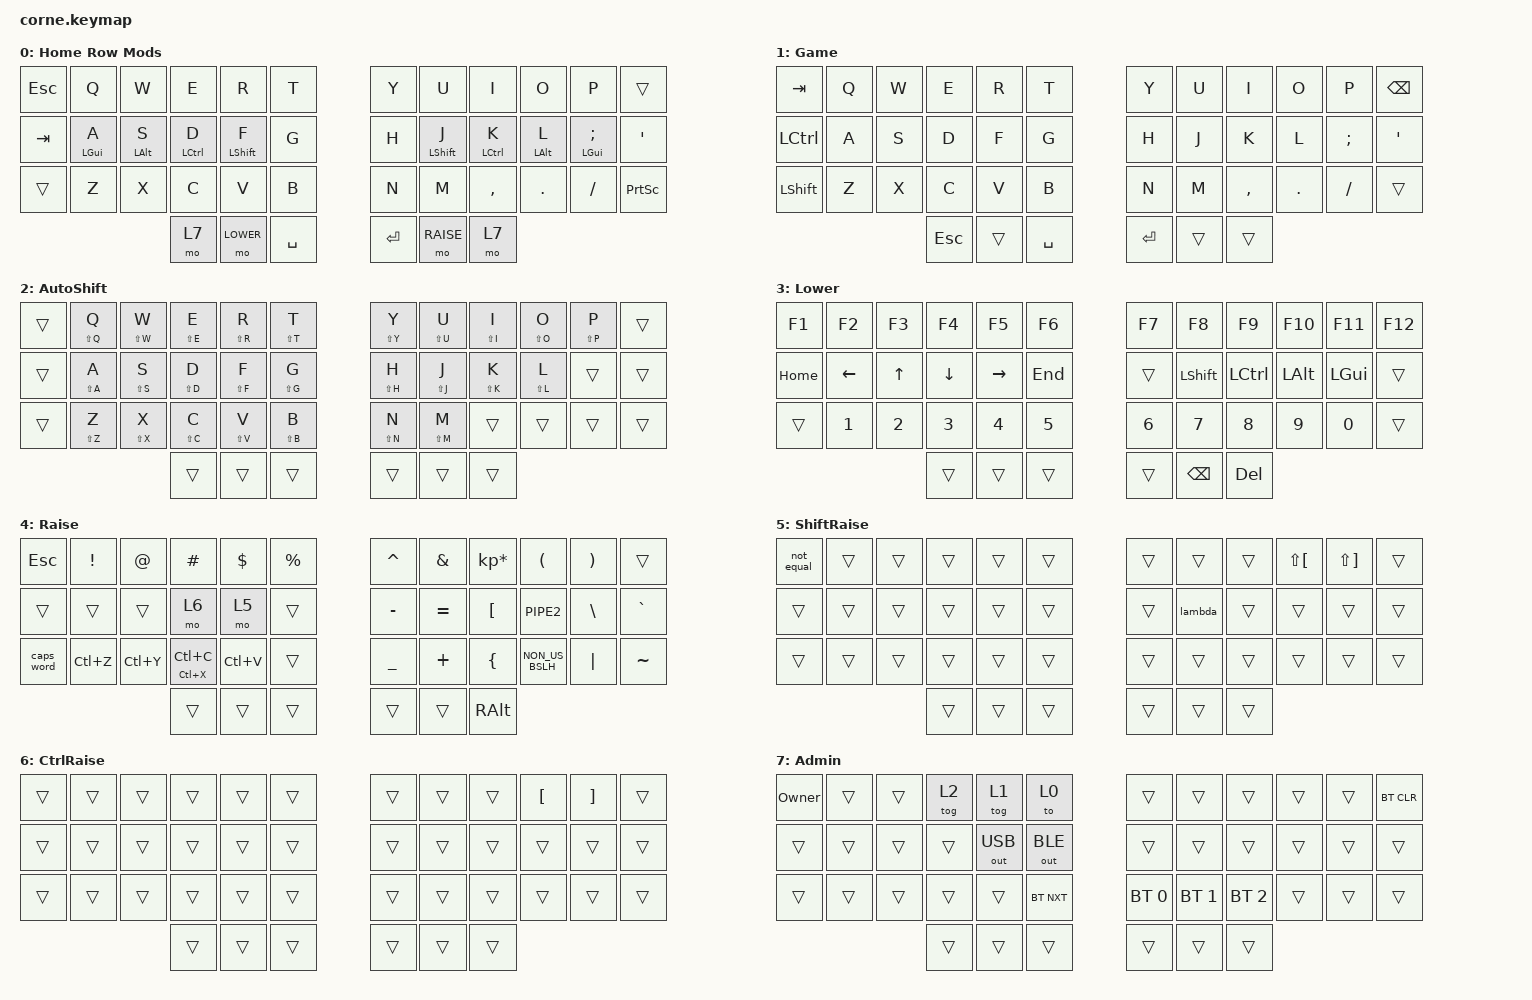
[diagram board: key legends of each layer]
/*
 * Copyright (c) 2020 The ZMK Contributors
 *
 * SPDX-License-Identifier: MIT
 */

#include <behaviors.dtsi>
#include <dt-bindings/zmk/bt.h>
#include <dt-bindings/zmk/keys.h>
#include <dt-bindings/zmk/outputs.h>

#define DEFAULT   0
#define GAME      1
#define AUTOSHIFT 2
#define LOWER     3
#define RAISE     4

//For RGB support per https://github.com/zmkfirmware/zmk/issues/885
//#include <../boards/shields/kyria/boards/nice_nano.overlay>

/ {
    behaviors {
        hm: homerow_mods {
            compatible = "zmk,behavior-hold-tap";
            label = "HOMEROW_MODS";
            #binding-cells = <2>;
            tapping-term-ms = <200>;
            quick-tap-ms = <0>;
            flavor = "tap-preferred";
            bindings = <&kp>, <&kp>;
        };

        as: autoshift {
            compatible = "zmk,behavior-hold-tap";
            label = "AUTOSHIFT";
            bindings = <&kp>, <&kp>;

            #binding-cells = <2>;
            tapping-term-ms = <250>;
            quick-tap-ms = <0>;
            flavor = "tap-preferred";
        };
    };

    macros {
        lambda: lambda {
            compatible = "zmk,behavior-macro";
            #binding-cells = <0>;
            bindings = <&kp EQUAL &kp GT>;
            label = "LAMBDA";
        };

        Owner: Owner {
            compatible = "zmk,behavior-macro";
            #binding-cells = <0>;
            bindings = <&kp LS(T) &kp H &kp I &kp S &kp SPACE &kp K &kp E &kp Y &kp B &kp O &kp A &kp R &kp D &kp SPACE &kp I &kp S &kp SPACE &kp O &kp W &kp N &kp E &kp D &kp SPACE &kp B &kp Y &kp SPACE &kp LS(A) &kp L &kp A &kp N &kp SPACE &kp LS(G) &kp A &kp R &kp D &kp N &kp E &kp R &kp DOT &kp SPACE &kp LS(G) &kp O &kp SPACE &kp N &kp I &kp C &kp K &kp SPACE &kp A &kp N &kp O &kp T &kp H &kp E &kp R>;
            label = "OWNER";
        };

        not_equal: not_equal {
            compatible = "zmk,behavior-macro";
            #binding-cells = <0>;
            bindings = <&kp EXCL &kp EQUAL>;
            label = "NOT_EQUAL";
        };
    };

    keymap {
        compatible = "zmk,keymap";

        default_layer {
            // -----------------------------------------------------------------------------------------
            // |  TAB |  Q  |  W  |  E  |  R  |  T  |   |  Y  |  U   |  I  |  O  |  P  | BKSP |
            // |  WIN |  A  |  S  |  D  |  F  |  G  |   |  H  |  J   |  K  |  L  | ; : | ' @  |
            // | SHFT |  Z  |  X  |  C  |  V  |  B  |   |  N  |  M   | , < | . > | / ? | ESC  |
            //                    | CTRL| LWR | SPC |   | ENT | RSE  | ALT |

            bindings = <
&kp ESCAPE  &kp Q       &kp W       &kp E        &kp R        &kp T        &kp Y    &kp U        &kp I        &kp O       &kp P          &trans
&kp TAB     &hm LGUI A  &hm LALT S  &hm LCTRL D  &hm LSHFT F  &kp G        &kp H    &hm LSHFT J  &hm LCTRL K  &hm LALT L  &hm LGUI SEMI  &kp SQT
&trans      &kp Z       &kp X       &kp C        &kp V        &kp B        &kp N    &kp M        &kp COMMA    &kp DOT     &kp FSLH       &kp PRINTSCREEN
                                    &mo 7        &mo LOWER    &kp SPACE    &kp RET  &mo RAISE    &mo 7
            >;

            label = "Home Row Mods";
        };

        game_layer {
            // -----------------------------------------------------------------------------------------
            // |  TAB |  Q  |  W  |  E  |  R  |  T  |   |  Y  |  U   |  I  |  O  |  P  | BKSP |
            // | CTRL |  A  |  S  |  D  |  F  |  G  |   |  H  |  J   |  K  |  L  | ; : | ' @  |
            // | SHFT |  Z  |  X  |  C  |  V  |  B  |   |  N  |  M   | , < | . > | / ? | ESC  |
            //                    | GUI | LWR | SPC |   | ENT | RSE  | ALT |

            bindings = <
&kp TAB    &kp Q  &kp W  &kp E       &kp R   &kp T        &kp Y    &kp U   &kp I      &kp O    &kp P     &kp BSPC
&kp LCTRL  &kp A  &kp S  &kp D       &kp F   &kp G        &kp H    &kp J   &kp K      &kp L    &kp SEMI  &kp SQT
&kp LSHFT  &kp Z  &kp X  &kp C       &kp V   &kp B        &kp N    &kp M   &kp COMMA  &kp DOT  &kp FSLH  &trans
                         &kp ESCAPE  &trans  &kp SPACE    &kp RET  &trans  &trans
            >;

            label = "Game";
        };

        autoshift_layer {
            bindings = <
&trans  &as LS(Q) Q  &as LS(W) W  &as LS(E) E  &as LS(R) R  &as LS(T) T    &as LS(Y) Y  &as LS(U) U  &as LS(I) I  &as LS(O) O  &as LS(P) P  &trans
&trans  &as LS(A) A  &as LS(S) S  &as LS(D) D  &as LS(F) F  &as LS(G) G    &as LS(H) H  &as LS(J) J  &as LS(K) K  &as LS(L) L  &trans       &trans
&trans  &as LS(Z) Z  &as LS(X) X  &as LS(C) C  &as LS(V) V  &as LS(B) B    &as LS(N) N  &as LS(M) M  &trans       &trans       &trans       &trans
                                  &trans       &trans       &trans         &trans       &trans       &trans
            >;

            label = "AutoShift";
        };

        lower_layer {
            // -----------------------------------------------------------------------------------------
            // |  F1  | F2  | F3  | F4  | F5  | F6  |   | F7  | F8  | F9  | F10 | F11 | F12  |
            // | HOME | LFT |  UP | DWN | RGT | END |   |     | SHFT| CTRL| ALT | GUI |      |
            // | SHFT |  1  |  2  |  3  |  4  |  5  |   |  6  |  7  |  8  |  9  |  0  |      |
            //                    | GUI |     | SPC |   | ENT | BKSP| DEL |

            bindings = <
&kp F1    &kp F2    &kp F3  &kp F4    &kp F5     &kp F6     &kp F7  &kp F8         &kp F9     &kp F10   &kp F11   &kp F12
&kp HOME  &kp LEFT  &kp UP  &kp DOWN  &kp RIGHT  &kp END    &trans  &kp LSHFT      &kp LCTRL  &kp LALT  &kp LGUI  &trans
&trans    &kp N1    &kp N2  &kp N3    &kp N4     &kp N5     &kp N6  &kp N7         &kp N8     &kp N9    &kp N0    &trans
                            &trans    &trans     &trans     &trans  &kp BACKSPACE  &kp DEL
            >;

            label = "Lower";
        };

        raise_layer {
            // -----------------------------------------------------------------------------------------
            // |  TAB |  !  |  "  |  #  |  $  |  %   |   |  ^  |  &  |  *  |  (  |  )  | DEL |
            // | CAPS |     |     |     | BT_1| BT_0 |   |  -  |  =  |  [  |  ]  |  `  |  #  |
            // | SHFT |  \  |  |  |     | GAME|BT_CLR|   |  _  |  +  |  {  |  }  |  ~  |  ¬  |
            //                    |     |     |      |   |     |     |R-ALT|

            bindings = <
&kp ESCAPE  &kp EXCL   &kp AT     &kp HASH         &kp DLLR   &kp PRCNT    &kp CARET  &kp AMPS   &kp KP_MULTIPLY  &kp LPAR         &kp RPAR  &trans
&trans      &trans     &trans     &mo 6            &mo 5      &trans       &kp MINUS  &kp EQUAL  &kp LBKT         &kp PIPE2        &kp BSLH  &kp GRAVE
&caps_word  &kp LC(Z)  &kp LC(Y)  &mt LC(X) LC(C)  &kp LC(V)  &trans       &kp UNDER  &kp PLUS   &kp LBRC         &kp NON_US_BSLH  &kp PIPE  &kp TILDE
                                  &trans           &trans     &trans       &trans     &trans     &kp RALT
            >;

            label = "Raise";
        };

        ShiftRaise {
            bindings = <
&not_equal  &trans  &trans  &trans  &trans  &trans    &trans  &trans   &trans  &kp LS(LBKT)  &kp LS(RBKT)  &trans
&trans      &trans  &trans  &trans  &trans  &trans    &trans  &lambda  &trans  &trans        &trans        &trans
&trans      &trans  &trans  &trans  &trans  &trans    &trans  &trans   &trans  &trans        &trans        &trans
                            &trans  &trans  &trans    &trans  &trans   &trans
            >;
        };

        CtrlRaise {
            bindings = <
&trans  &trans  &trans  &trans  &trans  &trans    &trans  &trans  &trans  &kp LBKT  &kp RBKT  &trans
&trans  &trans  &trans  &trans  &trans  &trans    &trans  &trans  &trans  &trans    &trans    &trans
&trans  &trans  &trans  &trans  &trans  &trans    &trans  &trans  &trans  &trans    &trans    &trans
                        &trans  &trans  &trans    &trans  &trans  &trans
            >;
        };

        Admin {
            bindings = <
&Owner  &trans  &trans  &tog 2  &tog 1        &to 0           &trans        &trans        &trans        &trans  &trans  &bt BT_CLR
&trans  &trans  &trans  &trans  &out OUT_USB  &out OUT_BLE    &trans        &trans        &trans        &trans  &trans  &trans
&trans  &trans  &trans  &trans  &trans        &bt BT_NXT      &bt BT_SEL 0  &bt BT_SEL 1  &bt BT_SEL 2  &trans  &trans  &trans
                        &trans  &trans        &trans          &trans        &trans        &trans
            >;
        };

        //             unused_layer {
        // -----------------------------------------------------------------------------------------
        // |      |     |     |     |     |     |   |     |     |     |     |     |      |
        // | BTCLR| BT1 | BT2 | BT3 | BT4 | BT5 |   | LFT | DWN |  UP | RGT |     |      |
        // |      |     |     |     |     |     |   |     |     |     |     |     |      |
        //                    |     |     |     |   | ENT | BKSP| DEL |
        //                        bindings = <
        //   &trans  &trans &trans &trans &trans &trans            &trans &trans  &trans &trans &trans &trans
        //   &bt BT_CLR &bt BT_SEL 0 &bt BT_SEL 1 &bt BT_SEL 2 &bt BT_SEL 3 &bt BT_SEL 4   &kp LEFT &kp DOWN &kp UP &kp RIGHT &trans &trans
        //   &trans &trans   &trans &trans   &trans   &trans       &trans &trans   &trans &trans   &trans   &trans
        //                    	     &trans &trans &trans          &trans     &trans   &trans  
        //                      >;
        //              };
    };
};
